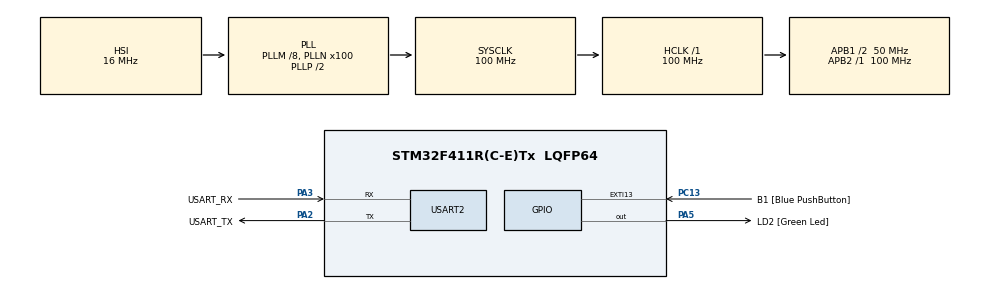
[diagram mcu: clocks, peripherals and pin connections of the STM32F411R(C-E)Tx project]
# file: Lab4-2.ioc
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Mcu.Family=STM32F4
Mcu.Name=STM32F411R(C-E)Tx
Mcu.Package=LQFP64
NVIC.EXTI15_10_IRQn=true\:0\:0\:false\:false\:true\:true\:true
NVIC.PriorityGroup=NVIC_PRIORITYGROUP_0
NVIC.TIM3_IRQn=true\:0\:0\:false\:false\:true\:true\:true
NVIC.TIM4_IRQn=true\:0\:0\:false\:false\:true\:true\:true
NVIC.TIM5_IRQn=true\:0\:0\:false\:false\:true\:true\:true
PA13.GPIO_Label=TMS
PA13.Mode=Serial_Wire
PA13.Signal=SYS_JTMS-SWDIO
PA14.GPIO_Label=TCK
PA14.Mode=Serial_Wire
PA14.Signal=SYS_JTCK-SWCLK
PA2.GPIO_Label=USART_TX
PA2.Mode=Asynchronous
PA2.Signal=USART2_TX
PA3.GPIO_Label=USART_RX
PA3.Mode=Asynchronous
PA3.Signal=USART2_RX
PA5.GPIO_Label=LD2 [Green Led]
PA5.Signal=GPIO_Output
PB3.GPIO_Label=SWO
PB3.Signal=SYS_JTDO-SWO
PC13-ANTI_TAMP.GPIO_Label=B1 [Blue PushButton]
PC13-ANTI_TAMP.GPIO_ModeDefaultEXTI=GPIO_MODE_IT_FALLING
PC13-ANTI_TAMP.Signal=GPXTI13
PC14-OSC32_IN.Mode=LSE-External-Oscillator
PC14-OSC32_IN.Signal=RCC_OSC32_IN
PC15-OSC32_OUT.Mode=LSE-External-Oscillator
PC15-OSC32_OUT.Signal=RCC_OSC32_OUT
PH0\ -\ OSC_IN.Mode=HSE-External-Clock-Source
PH0\ -\ OSC_IN.Signal=RCC_OSC_IN
PH1\ -\ OSC_OUT.Mode=HSE-External-Clock-Source
PH1\ -\ OSC_OUT.Signal=RCC_OSC_OUT
ProjectManager.HeapSize=0x200
ProjectManager.StackSize=0x400
ProjectManager.TargetToolchain=STM32CubeIDE
RCC.48MHZClocksFreq_Value=50000000
RCC.AHBFreq_Value=100000000
RCC.APB1CLKDivider=RCC_HCLK_DIV2
RCC.APB1Freq_Value=50000000
RCC.APB1TimFreq_Value=100000000
RCC.APB2Freq_Value=100000000
RCC.APB2TimFreq_Value=100000000
RCC.CortexFreq_Value=100000000
RCC.FLatency-AdvancedSettings=FLASH_LATENCY_3
RCC.HCLKFreq_Value=100000000
RCC.HSE_VALUE=8000000
RCC.HSI_VALUE=16000000
RCC.PLLM=8
RCC.PLLN=100
RCC.SYSCLKFreq_VALUE=100000000
RCC.SYSCLKSource=RCC_SYSCLKSOURCE_PLLCLK
RCC.VCOOutputFreq_Value=200000000
TIM3.Channel-Output\ Compare1\ No\ Output=TIM_CHANNEL_1
TIM3.Period=4905
TIM3.Prescaler=10000
TIM4.Channel-Output\ Compare1\ No\ Output=TIM_CHANNEL_1
TIM4.Period=5000
TIM4.Prescaler=10000
TIM5.Channel-Output\ Compare1\ No\ Output=TIM_CHANNEL_1
TIM5.Period=9999
TIM5.Prescaler=10000
USART2.VirtualMode=VM_ASYNC
VP_TIM3_VS_no_output1.Mode=Output Compare1 No Output
VP_TIM4_VS_no_output1.Mode=Output Compare1 No Output
VP_TIM5_VS_no_output1.Mode=Output Compare1 No Output
board=NUCLEO-F411RE

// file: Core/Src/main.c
/* USER CODE BEGIN Header */
/**
 ******************************************************************************
 * @file           : main.c
 * @brief          : Main program body
 ******************************************************************************
 * @attention
 *
 * <h2><center>&copy; Copyright (c) 2021 STMicroelectronics.
 * All rights reserved.</center></h2>
 *
 * This software component is licensed by ST under BSD 3-Clause license,
 * the "License"; You may not use this file except in compliance with the
 * License. You may obtain a copy of the License at:
 *                        opensource.org/licenses/BSD-3-Clause
 *
 ******************************************************************************
 */
/* USER CODE END Header */
#include "main.h"

TIM_HandleTypeDef htim3;
TIM_HandleTypeDef htim4;
TIM_HandleTypeDef htim5;

UART_HandleTypeDef huart2;

void SystemClock_Config(void);
static void MX_GPIO_Init(void);
static void MX_USART2_UART_Init(void);
static void MX_TIM4_Init(void);
static void MX_TIM3_Init(void);
static void MX_TIM5_Init(void);

/* USER CODE BEGIN 0 */
int greenblink = 0;
int redblink = 0;
char text[32];
void HAL_TIM_PeriodElapsedCallback(TIM_HandleTypeDef *htim) {
	if (htim->Instance == TIM4) {
		HAL_GPIO_TogglePin(GPIOA, GPIO_PIN_5);
		greenblink++;
	}
	if (htim->Instance == TIM3) {
		redblink++;
	}
	if (htim->Instance == TIM5) {
		sprintf(text, "Red: %d, Green: %d\n\r", redblink, greenblink);
		HAL_UART_Transmit(&huart2, (uint8_t*) text, sizeof(text), 1000);
	}
}

/* USER CODE END 0 */

int main(void)
{

  /* MCU Configuration--------------------------------------------------------*/

  /* Reset of all peripherals, Initializes the Flash interface and the Systick. */
  HAL_Init();

  /* Configure the system clock */
  SystemClock_Config();

  /* Initialize all configured peripherals */
  MX_GPIO_Init();
  MX_USART2_UART_Init();
  MX_TIM4_Init();
  MX_TIM3_Init();
  MX_TIM5_Init();
  /* USER CODE BEGIN 2 */
	HAL_TIM_Base_Start_IT(&htim4);
	HAL_TIM_Base_Start_IT(&htim3);
	HAL_TIM_Base_Start_IT(&htim5);

  /* USER CODE END 2 */

  /* Infinite loop */
	while (1) {

	}
}

void SystemClock_Config(void)
{
  RCC_OscInitTypeDef RCC_OscInitStruct = {0};
  RCC_ClkInitTypeDef RCC_ClkInitStruct = {0};

  /** Configure the main internal regulator output voltage
  */
  __HAL_RCC_PWR_CLK_ENABLE();
  __HAL_PWR_VOLTAGESCALING_CONFIG(PWR_REGULATOR_VOLTAGE_SCALE1);
  /** Initializes the RCC Oscillators according to the specified parameters
  * in the RCC_OscInitTypeDef structure.
  */
  RCC_OscInitStruct.OscillatorType = RCC_OSCILLATORTYPE_HSI;
  RCC_OscInitStruct.HSIState = RCC_HSI_ON;
  RCC_OscInitStruct.HSICalibrationValue = RCC_HSICALIBRATION_DEFAULT;
  RCC_OscInitStruct.PLL.PLLState = RCC_PLL_ON;
  RCC_OscInitStruct.PLL.PLLSource = RCC_PLLSOURCE_HSI;
  RCC_OscInitStruct.PLL.PLLM = 8;
  RCC_OscInitStruct.PLL.PLLN = 100;
  RCC_OscInitStruct.PLL.PLLP = RCC_PLLP_DIV2;
  RCC_OscInitStruct.PLL.PLLQ = 4;
  if (HAL_RCC_OscConfig(&RCC_OscInitStruct) != HAL_OK)
  {
    Error_Handler();
  }
  /** Initializes the CPU, AHB and APB buses clocks
  */
  RCC_ClkInitStruct.ClockType = RCC_CLOCKTYPE_HCLK|RCC_CLOCKTYPE_SYSCLK
                              |RCC_CLOCKTYPE_PCLK1|RCC_CLOCKTYPE_PCLK2;
  RCC_ClkInitStruct.SYSCLKSource = RCC_SYSCLKSOURCE_PLLCLK;
  RCC_ClkInitStruct.AHBCLKDivider = RCC_SYSCLK_DIV1;
  RCC_ClkInitStruct.APB1CLKDivider = RCC_HCLK_DIV2;
  RCC_ClkInitStruct.APB2CLKDivider = RCC_HCLK_DIV1;

  if (HAL_RCC_ClockConfig(&RCC_ClkInitStruct, FLASH_LATENCY_3) != HAL_OK)
  {
    Error_Handler();
  }
}

static void MX_TIM3_Init(void)
{

  TIM_MasterConfigTypeDef sMasterConfig = {0};
  TIM_OC_InitTypeDef sConfigOC = {0};

  htim3.Instance = TIM3;
  htim3.Init.Prescaler = 10000;
  htim3.Init.CounterMode = TIM_COUNTERMODE_UP;
  htim3.Init.Period = 4905;
  htim3.Init.ClockDivision = TIM_CLOCKDIVISION_DIV1;
  htim3.Init.AutoReloadPreload = TIM_AUTORELOAD_PRELOAD_DISABLE;
  if (HAL_TIM_OC_Init(&htim3) != HAL_OK)
  {
    Error_Handler();
  }
  sMasterConfig.MasterOutputTrigger = TIM_TRGO_RESET;
  sMasterConfig.MasterSlaveMode = TIM_MASTERSLAVEMODE_DISABLE;
  if (HAL_TIMEx_MasterConfigSynchronization(&htim3, &sMasterConfig) != HAL_OK)
  {
    Error_Handler();
  }
  sConfigOC.OCMode = TIM_OCMODE_TIMING;
  sConfigOC.Pulse = 0;
  sConfigOC.OCPolarity = TIM_OCPOLARITY_HIGH;
  sConfigOC.OCFastMode = TIM_OCFAST_DISABLE;
  if (HAL_TIM_OC_ConfigChannel(&htim3, &sConfigOC, TIM_CHANNEL_1) != HAL_OK)
  {
    Error_Handler();
  }

}

static void MX_TIM4_Init(void)
{

  TIM_MasterConfigTypeDef sMasterConfig = {0};
  TIM_OC_InitTypeDef sConfigOC = {0};

  htim4.Instance = TIM4;
  htim4.Init.Prescaler = 10000;
  htim4.Init.CounterMode = TIM_COUNTERMODE_UP;
  htim4.Init.Period = 5000;
  htim4.Init.ClockDivision = TIM_CLOCKDIVISION_DIV1;
  htim4.Init.AutoReloadPreload = TIM_AUTORELOAD_PRELOAD_DISABLE;
  if (HAL_TIM_OC_Init(&htim4) != HAL_OK)
  {
    Error_Handler();
  }
  sMasterConfig.MasterOutputTrigger = TIM_TRGO_RESET;
  sMasterConfig.MasterSlaveMode = TIM_MASTERSLAVEMODE_DISABLE;
  if (HAL_TIMEx_MasterConfigSynchronization(&htim4, &sMasterConfig) != HAL_OK)
  {
    Error_Handler();
  }
  sConfigOC.OCMode = TIM_OCMODE_TIMING;
  sConfigOC.Pulse = 0;
  sConfigOC.OCPolarity = TIM_OCPOLARITY_HIGH;
  sConfigOC.OCFastMode = TIM_OCFAST_DISABLE;
  if (HAL_TIM_OC_ConfigChannel(&htim4, &sConfigOC, TIM_CHANNEL_1) != HAL_OK)
  {
    Error_Handler();
  }

}

static void MX_TIM5_Init(void)
{

  TIM_MasterConfigTypeDef sMasterConfig = {0};
  TIM_OC_InitTypeDef sConfigOC = {0};

  htim5.Instance = TIM5;
  htim5.Init.Prescaler = 10000;
  htim5.Init.CounterMode = TIM_COUNTERMODE_UP;
  htim5.Init.Period = 9999;
  htim5.Init.ClockDivision = TIM_CLOCKDIVISION_DIV1;
  htim5.Init.AutoReloadPreload = TIM_AUTORELOAD_PRELOAD_DISABLE;
  if (HAL_TIM_OC_Init(&htim5) != HAL_OK)
  {
    Error_Handler();
  }
  sMasterConfig.MasterOutputTrigger = TIM_TRGO_RESET;
  sMasterConfig.MasterSlaveMode = TIM_MASTERSLAVEMODE_DISABLE;
  if (HAL_TIMEx_MasterConfigSynchronization(&htim5, &sMasterConfig) != HAL_OK)
  {
    Error_Handler();
  }
  sConfigOC.OCMode = TIM_OCMODE_TIMING;
  sConfigOC.Pulse = 0;
  sConfigOC.OCPolarity = TIM_OCPOLARITY_HIGH;
  sConfigOC.OCFastMode = TIM_OCFAST_DISABLE;
  if (HAL_TIM_OC_ConfigChannel(&htim5, &sConfigOC, TIM_CHANNEL_1) != HAL_OK)
  {
    Error_Handler();
  }

}

static void MX_USART2_UART_Init(void)
{

  huart2.Instance = USART2;
  huart2.Init.BaudRate = 115200;
  huart2.Init.WordLength = UART_WORDLENGTH_8B;
  huart2.Init.StopBits = UART_STOPBITS_1;
  huart2.Init.Parity = UART_PARITY_NONE;
  huart2.Init.Mode = UART_MODE_TX_RX;
  huart2.Init.HwFlowCtl = UART_HWCONTROL_NONE;
  huart2.Init.OverSampling = UART_OVERSAMPLING_16;
  if (HAL_UART_Init(&huart2) != HAL_OK)
  {
    Error_Handler();
  }

}

static void MX_GPIO_Init(void)
{
  GPIO_InitTypeDef GPIO_InitStruct = {0};

  /* GPIO Ports Clock Enable */
  __HAL_RCC_GPIOC_CLK_ENABLE();
  __HAL_RCC_GPIOH_CLK_ENABLE();
  __HAL_RCC_GPIOA_CLK_ENABLE();
  __HAL_RCC_GPIOB_CLK_ENABLE();

  /*Configure GPIO pin Output Level */
  HAL_GPIO_WritePin(LD2_GPIO_Port, LD2_Pin, GPIO_PIN_RESET);

  /*Configure GPIO pin : B1_Pin */
  GPIO_InitStruct.Pin = B1_Pin;
  GPIO_InitStruct.Mode = GPIO_MODE_IT_FALLING;
  GPIO_InitStruct.Pull = GPIO_NOPULL;
  HAL_GPIO_Init(B1_GPIO_Port, &GPIO_InitStruct);

  /*Configure GPIO pin : LD2_Pin */
  GPIO_InitStruct.Pin = LD2_Pin;
  GPIO_InitStruct.Mode = GPIO_MODE_OUTPUT_PP;
  GPIO_InitStruct.Pull = GPIO_NOPULL;
  GPIO_InitStruct.Speed = GPIO_SPEED_FREQ_LOW;
  HAL_GPIO_Init(LD2_GPIO_Port, &GPIO_InitStruct);

  /* EXTI interrupt init*/
  HAL_NVIC_SetPriority(EXTI15_10_IRQn, 0, 0);
  HAL_NVIC_EnableIRQ(EXTI15_10_IRQn);

}

void Error_Handler(void)
{
	__disable_irq();
	while (1) {
	}
}

/************************ (C) COPYRIGHT STMicroelectronics *****END OF FILE****/
